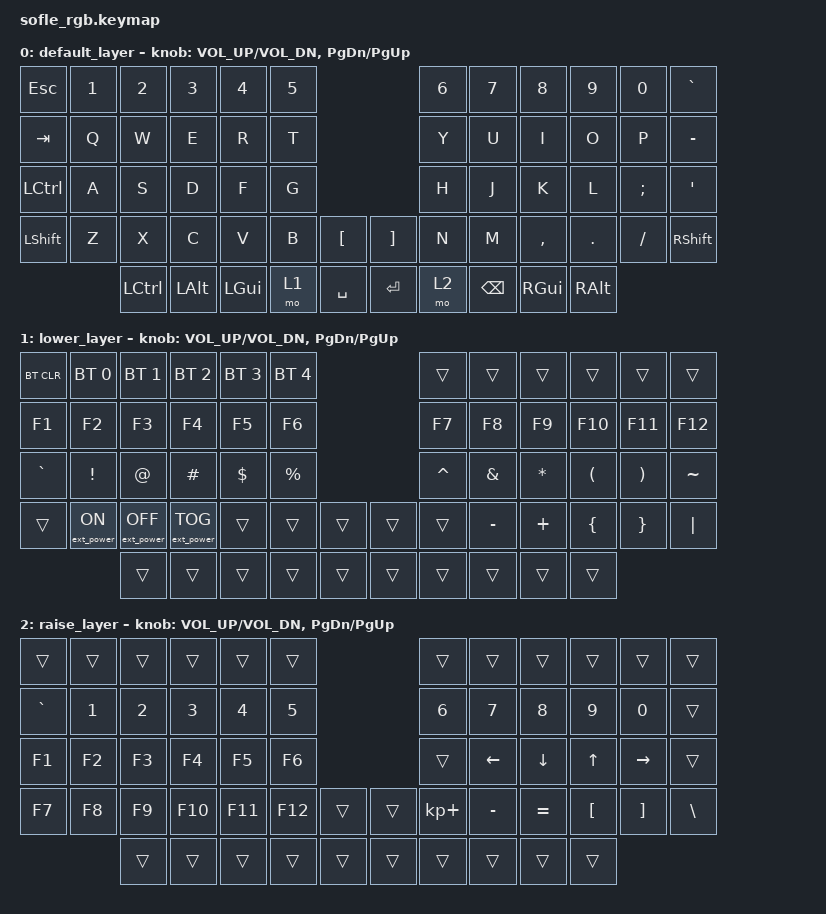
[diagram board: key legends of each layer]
/*
 * Copyright (c) 2023 The ZMK Contributors
 *
 * SPDX-License-Identifier: MIT
 */

#include <behaviors.dtsi>
#include <dt-bindings/zmk/keys.h>
#include <dt-bindings/zmk/bt.h>
#include <dt-bindings/zmk/ext_power.h>

/ {
    keymap {
        compatible = "zmk,keymap";

        default_layer {
// ------------------------------------------------------------------------------------------------------------
// |  ESC  |  1  |  2  |  3   |  4   |  5   |                   |  6   |  7    |  8    |  9   |   0   |   `   |
// |  TAB  |  Q  |  W  |  E   |  R   |  T   |                   |  Y   |  U    |  I    |  O   |   P   |   -   |
// |  CTRL |  A  |  S  |  D   |  F   |  G   |                   |  H   |  J    |  K    |  L   |   ;   |   '   |
// | SHIFT |  Z  |  X  |  C   |  V   |  B   |   "["  |  |  "]"  |  N   |  M    |  ,    |  .   |   /   | SHIFT |
//               |CTRL | ALT  | GUI  | LOWER|  SPACE |  | ENTER | RAISE| BSPC  | GUI   | RALT |
            bindings = <
&kp ESC   &kp N1 &kp N2    &kp N3   &kp N4   &kp N5                     &kp N6 &kp N7   &kp N8    &kp N9   &kp N0   &kp GRAVE
&kp TAB   &kp Q  &kp W     &kp E    &kp R    &kp T                      &kp Y  &kp U    &kp I     &kp O    &kp P    &kp MINUS
&kp LCTRL &kp A  &kp S     &kp D    &kp F    &kp G                      &kp H  &kp J    &kp K     &kp L    &kp SEMI &kp SQT
&kp LSHFT &kp Z  &kp X     &kp C    &kp V    &kp B  &kp LBKT   &kp RBKT &kp N  &kp M    &kp COMMA &kp DOT  &kp FSLH &kp RSHFT
                 &kp LCTRL &kp LALT &kp LGUI &mo 1  &kp SPACE  &kp RET  &mo 2  &kp BSPC &kp RGUI  &kp RALT
            >;

            // LEFT Encoder: Volume Up/Down | RIGHT Encoder: Scroll Page Up/Down
            sensor-bindings = <&inc_dec_kp C_VOL_UP C_VOL_DN &inc_dec_kp PG_DN PG_UP>;
        };

        lower_layer {
// ------------------------------------------------------------------------------------------------------------
// | BTCLR | BT1 | BT2 |  BT3 |  BT4 |  BT5 |                   |      |       |       |      |       |       |
// |  F1   |  F2 |  F3 |  F4  |  F5  |  F6  |                   |  F7  |  F8   |  F9   |  F10 |  F11  |  F12  |
// |   `   |  !  |  @  |  #   |  $   |  %   |                   |  ^   |  &    |  *    |  (   |   )   |   ~   |
// |       |     |     |      |      |      |        |  |       |      |  _    |  +    |  {   |   }   |  "|"  |
//               |     |      |      |      |        |  |       |      |       |       |      |
            bindings = <
&bt BT_CLR &bt BT_SEL 0     &bt BT_SEL 1      &bt BT_SEL 2      &bt BT_SEL 3 &bt BT_SEL 4                 &trans    &trans    &trans    &trans    &trans    &trans
&kp F1     &kp F2           &kp F3            &kp F4            &kp F5       &kp F6                       &kp F7    &kp F8    &kp F9    &kp F10   &kp F11   &kp F12
&kp GRAVE  &kp EXCL         &kp AT            &kp HASH          &kp DOLLAR   &kp PRCNT                    &kp CARET &kp AMPS  &kp STAR  &kp LPAR  &kp RPAR  &kp TILDE
&trans     &ext_power EP_ON &ext_power EP_OFF &ext_power EP_TOG &trans       &trans    &trans   &trans    &trans    &kp MINUS &kp PLUS  &kp LBRC  &kp RBRC  &kp PIPE
                            &trans            &trans            &trans       &trans    &trans   &trans    &trans    &trans    &trans    &trans
            >;

            // Keeps your encoders active with identical behavior when holding the LOWER layer down
            sensor-bindings = <&inc_dec_kp C_VOL_UP C_VOL_DN &inc_dec_kp PG_DN PG_UP>;
        };

        raise_layer {
// ------------------------------------------------------------------------------------------------------------
// |       |     |     |      |      |      |                   |      |       |       |      |       |       |
// |   `   |  1  |  2  |  3   |  4   |  5   |                   |  6   |   7   |   8   |  9   |   0   |       |
// |   F1  |  F2 |  F3 |  F4  |  F5  |  F6  |                   |      |   <-  |   v   |  ^   |  ->   |       |
// |   F7  |  F8 |  F9 |  F10 |  F11 |  F12 |        |  |       |  +   |   -   |   =   |  [   |   ]   |   \   |
//               |     |      |      |      |        |  |       |      |       |       |      |
            bindings = <
&trans    &trans &trans &trans  &trans  &trans                       &trans      &trans    &trans    &trans   &trans    &trans
&kp GRAVE &kp N1 &kp N2 &kp N3  &kp N4  &kp N5                       &kp N6      &kp N7    &kp N8    &kp N9   &kp N0    &trans
&kp F1    &kp F2 &kp F3 &kp F4  &kp F5  &kp F6                       &trans      &kp LEFT  &kp DOWN  &kp UP   &kp RIGHT &trans
&kp F7    &kp F8 &kp F9 &kp F10 &kp F11 &kp F12   &trans   &trans    &kp KP_PLUS &kp MINUS &kp EQUAL &kp LBKT &kp RBKT  &kp BSLH
                 &trans &trans  &trans  &trans    &trans   &trans    &trans      &trans    &trans    &trans
            >;

            // Keeps your encoders active with identical behavior when holding the RAISE layer down
            sensor-bindings = <&inc_dec_kp C_VOL_UP C_VOL_DN &inc_dec_kp PG_DN PG_UP>;
        };
    };
};

/* Soft off behavior definition */
/ {
    behaviors {
        soft_off_2s: soft_off_2s {
            compatible = "zmk,behavior-soft-off";
            #binding-cells = <0>;
            hold-time-ms = <2000>; 
        };
    };

    combos {
        compatible = "zmk,combos";
        
        // LEFT SIDE: Top Outer (0) + Bottom Inner (52)
        combo_soft_off_left {
            timeout-ms = <50>;
            key-positions = <0 52>; 
            bindings = <&soft_off_2s>;
        };

        // RIGHT SIDE: Top Outer (11) + Bottom Inner (47)
        combo_soft_off_right {
            timeout-ms = <50>;
            key-positions = <11 47>; 
            bindings = <&soft_off_2s>;
        };
    };
};

